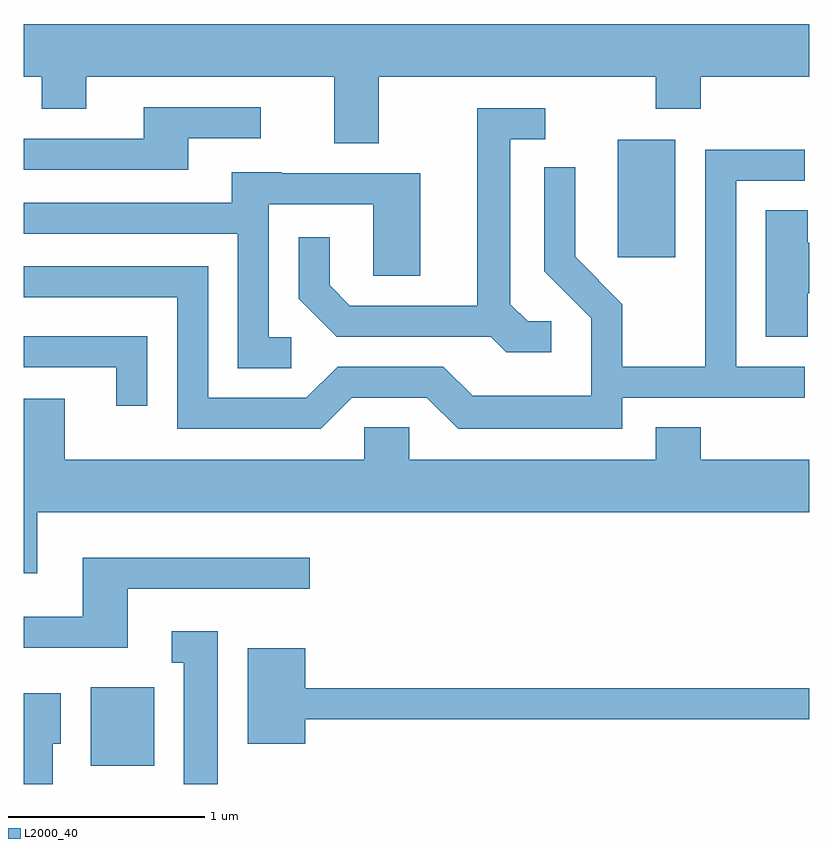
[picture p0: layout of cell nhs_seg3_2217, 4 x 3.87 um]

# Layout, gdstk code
import gdstk
lib = gdstk.Library(unit=1e-6, precision=1e-09)
def R(c, l, rs):  # rectangles x0, y0, x1, y1
    for r in rs: c.add(gdstk.rectangle(r[:2], r[2:], *l))
def P(c, l, *ps):  # polygons
    for p in ps: c.add(gdstk.Polygon(p, *l))
L2000_40 = (2000, 40)

nhs_seg3_2217 = lib.new_cell('nhs_seg3_2217')
R(nhs_seg3_2217, L2000_40, [(249.951,1197.986,250.274,1198.384), (252.636,1200.576,252.929,1201.174)])
P(nhs_seg3_2217, L2000_40, [(251.419,1201.496),(252.831,1201.496),(252.831,1201.331),(253.059,1201.331),(253.059,1201.496),(253.611,1201.496),(253.611,1201.764),(249.611,1201.764),(249.611,1201.496),(249.701,1201.496),(249.701,1201.331),(249.929,1201.331),(249.929,1201.496),(251.191,1201.496),(251.191,1201.156),(251.419,1201.156)],
  [(250.449,1201.181),(250.818,1201.181),(250.818,1201.339),(250.221,1201.339),(250.221,1201.179),(249.611,1201.179),(249.611,1201.021),(250.449,1201.021)],
  [(252.298,1200.249),(252.177,1200.249),(252.089,1200.337),(252.089,1201.176),(252.268,1201.176),(252.268,1201.334),(251.921,1201.334),(251.921,1200.329),(251.272,1200.329),(251.169,1200.432),(251.169,1200.678),(251.011,1200.678),(251.011,1200.364),(251.204,1200.171),(251.989,1200.171),(252.069,1200.091),(252.298,1200.091)],
  [(251.282,1199.861),(251.664,1199.861),(251.824,1199.701),(252.659,1199.701),(252.659,1199.861),(253.588,1199.861),(253.588,1200.019),(253.239,1200.019),(253.239,1200.966),(253.588,1200.966),(253.588,1201.124),(253.081,1201.124),(253.081,1200.019),(252.659,1200.019),(252.659,1200.337),(252.419,1200.577),(252.419,1201.033),(252.261,1201.033),(252.261,1200.504),(252.501,1200.264),(252.501,1199.869),(251.897,1199.869),(251.747,1200.019),(251.209,1200.019),(251.049,1199.859),(250.549,1199.859),(250.549,1200.529),(249.611,1200.529),(249.611,1200.371),(250.391,1200.371),(250.391,1199.701),(251.122,1199.701)],
  [(250.973,1200.169),(250.859,1200.169),(250.859,1200.846),(251.391,1200.846),(251.391,1200.481),(251.629,1200.481),(251.629,1201.004),(250.925,1201.004),(250.925,1201.009),(250.671,1201.009),(250.671,1200.854),(249.611,1200.854),(249.611,1200.696),(250.701,1200.696),(250.701,1200.011),(250.973,1200.011)],
  [(253.604,1200.391),(253.611,1200.391),(253.611,1200.649),(253.604,1200.649),(253.604,1200.814),(253.391,1200.814),(253.391,1200.171),(253.604,1200.171)],
  [(250.239,1200.174),(249.611,1200.174),(249.611,1200.016),(250.081,1200.016),(250.081,1199.818),(250.239,1199.818)],
  [(249.679,1199.276),(253.611,1199.276),(253.611,1199.544),(253.059,1199.544),(253.059,1199.709),(252.831,1199.709),(252.831,1199.544),(251.574,1199.544),(251.574,1199.709),(251.346,1199.709),(251.346,1199.544),(249.819,1199.544),(249.819,1199.854),(249.611,1199.854),(249.611,1198.966),(249.679,1198.966)],
  [(250.139,1198.886),(251.068,1198.886),(251.068,1199.044),(249.911,1199.044),(249.911,1198.744),(249.611,1198.744),(249.611,1198.586),(250.139,1198.586)],
  [(250.599,1198.669),(250.363,1198.669),(250.363,1198.511),(250.426,1198.511),(250.426,1197.892),(250.599,1197.892)],
  [(251.044,1198.221),(253.611,1198.221),(253.611,1198.379),(251.044,1198.379),(251.044,1198.584),(250.751,1198.584),(250.751,1198.096),(251.044,1198.096)],
  [(249.759,1198.096),(249.799,1198.096),(249.799,1198.354),(249.611,1198.354),(249.611,1197.892),(249.759,1197.892)])

lib.write_gds('nhs_seg3_2217.gds')
